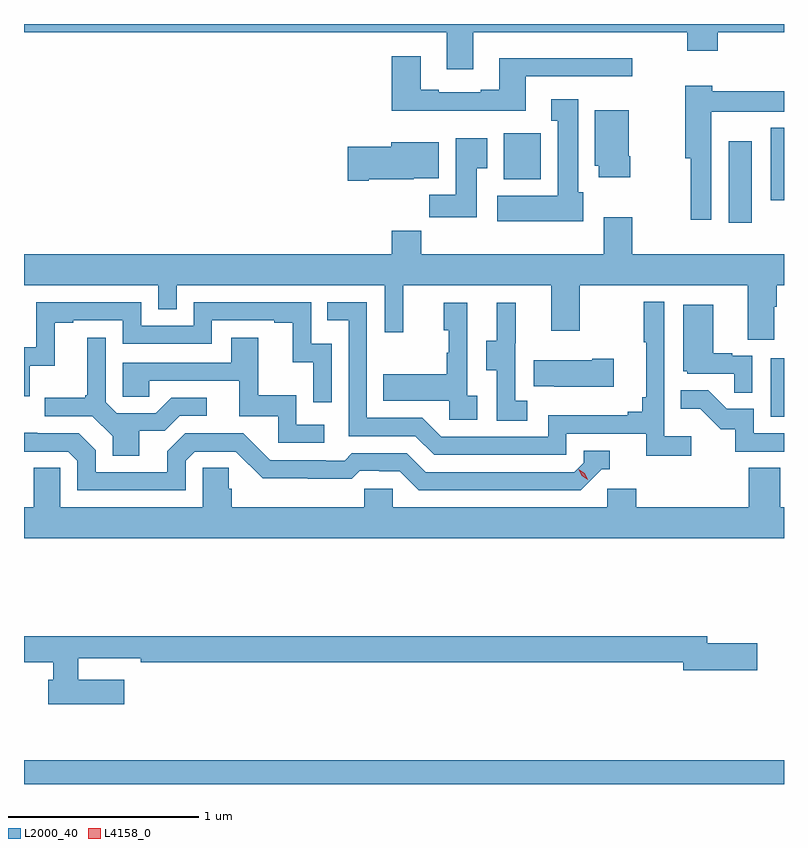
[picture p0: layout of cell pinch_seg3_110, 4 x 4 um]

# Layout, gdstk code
import gdstk
lib = gdstk.Library(unit=1e-6, precision=1e-09)
def R(c, l, rs):  # rectangles x0, y0, x1, y1
    for r in rs: c.add(gdstk.rectangle(r[:2], r[2:], *l))
def P(c, l, *ps):  # polygons
    for p in ps: c.add(gdstk.Polygon(p, *l))
L2000_40 = (2000, 40)
L4158_0 = (4158, 0)

pinch_seg3_110 = lib.new_cell('pinch_seg3_110')
R(pinch_seg3_110, L2000_40, [(1046.989,712.943,1050.989,713.068), (1050.92,714.876,1050.989,715.183), (1050.698,715.896,1050.82,716.326), (1050.92,716.016,1050.989,716.396), (1049.513,716.126,1049.71,716.368)])
P(pinch_seg3_110, L2000_40, [(1049.353,716.9),(1050.479,716.9),(1050.479,716.801),(1050.639,716.801),(1050.639,716.9),(1050.989,716.9),(1050.989,716.943),(1046.989,716.943),(1046.989,716.9),(1049.213,716.9),(1049.213,716.706),(1049.353,716.706)],
  [(1049.629,716.667),(1050.19,716.667),(1050.19,716.764),(1049.489,716.764),(1049.489,716.596),(1049.393,716.596),(1049.393,716.583),(1049.173,716.583),(1049.173,716.596),(1049.077,716.596),(1049.077,716.773),(1048.925,716.773),(1048.925,716.486),(1049.629,716.486)],
  [(1050.606,716.48),(1050.816,716.48),(1050.816,716.481),(1050.989,716.481),(1050.989,716.59),(1050.611,716.59),(1050.611,716.617),(1050.469,716.617),(1050.469,716.237),(1050.498,716.237),(1050.498,715.914),(1050.606,715.914)],
  [(1049.932,716.058),(1049.905,716.058),(1049.905,716.548),(1049.765,716.548),(1049.765,716.435),(1049.798,716.435),(1049.798,716.038),(1049.481,716.038),(1049.481,715.904),(1049.932,715.904)],
  [(1050.18,716.248),(1050.172,716.248),(1050.172,716.488),(1049.993,716.488),(1049.993,716.196),(1050.014,716.196),(1050.014,716.136),(1050.18,716.136)],
  [(1049.371,716.185),(1049.428,716.185),(1049.428,716.341),(1049.261,716.341),(1049.261,716.044),(1049.122,716.044),(1049.122,715.926),(1049.371,715.926)],
  [(1048.804,716.126),(1049.04,716.126),(1049.04,716.132),(1049.173,716.132),(1049.173,716.32),(1048.922,716.32),(1048.922,716.297),(1048.692,716.297),(1048.692,716.119),(1048.804,716.119)],
  [(1050.937,715.456),(1050.95,715.456),(1050.95,715.568),(1050.989,715.568),(1050.989,715.732),(1050.189,715.732),(1050.189,715.927),(1050.041,715.927),(1050.041,715.732),(1049.081,715.732),(1049.081,715.856),(1048.925,715.856),(1048.925,715.732),(1046.989,715.732),(1046.989,715.568),(1047.696,715.568),(1047.696,715.441),(1047.792,715.441),(1047.792,715.568),(1048.887,715.568),(1048.887,715.32),(1048.985,715.32),(1048.985,715.568),(1049.765,715.568),(1049.765,715.329),(1049.913,715.329),(1049.913,715.568),(1050.797,715.568),(1050.797,715.282),(1050.937,715.282)],
  [(1050.502,714.772),(1050.36,714.772),(1050.36,715.48),(1050.252,715.48),(1050.252,715.267),(1050.263,715.267),(1050.263,714.979),(1050.244,714.979),(1050.244,714.902),(1050.167,714.902),(1050.167,714.883),(1049.748,714.883),(1049.748,714.771),(1049.184,714.771),(1049.085,714.87),(1048.794,714.87),(1048.794,715.479),(1048.585,715.479),(1048.585,715.383),(1048.698,715.383),(1048.698,714.774),(1049.048,714.774),(1049.147,714.675),(1049.844,714.675),(1049.844,714.786),(1050.263,714.786),(1050.263,714.67),(1050.502,714.67)],
  [(1048.608,715.26),(1048.5,715.26),(1048.5,715.479),(1047.882,715.479),(1047.882,715.356),(1047.606,715.356),(1047.606,715.479),(1047.054,715.479),(1047.054,715.243),(1046.989,715.243),(1046.989,714.984),(1047.018,714.984),(1047.018,715.145),(1047.151,715.145),(1047.151,715.371),(1047.247,715.371),(1047.247,715.383),(1047.51,715.383),(1047.51,715.26),(1047.978,715.26),(1047.978,715.383),(1048.307,715.383),(1048.307,715.371),(1048.403,715.371),(1048.403,715.163),(1048.512,715.163),(1048.512,714.951),(1048.608,714.951)],
  [(1049.374,714.986),(1049.322,714.986),(1049.322,715.477),(1049.198,715.477),(1049.198,715.332),(1049.224,715.332),(1049.224,715.214),(1049.214,715.214),(1049.214,715.099),(1048.879,715.099),(1048.879,714.959),(1049.226,714.959),(1049.226,714.861),(1049.374,714.861)],
  [(1049.638,714.959),(1049.574,714.959),(1049.574,715.263),(1049.576,715.263),(1049.576,715.477),(1049.477,715.477),(1049.477,715.275),(1049.423,715.275),(1049.423,715.12),(1049.478,715.12),(1049.478,714.856),(1049.638,714.856)],
  [(1050.822,715.197),(1050.716,715.197),(1050.716,715.21),(1050.616,715.21),(1050.616,715.465),(1050.458,715.465),(1050.458,715.116),(1050.48,715.116),(1050.48,715.101),(1050.727,715.101),(1050.727,715.003),(1050.822,715.003)],
  [(1047.595,714.802),(1047.73,714.802),(1047.81,714.882),(1047.952,714.882),(1047.952,714.975),(1047.764,714.975),(1047.683,714.894),(1047.477,714.894),(1047.42,714.951),(1047.42,715.291),(1047.323,715.291),(1047.323,714.988),(1047.312,714.988),(1047.312,714.976),(1047.099,714.976),(1047.099,714.879),(1047.348,714.879),(1047.455,714.772),(1047.455,714.67),(1047.595,714.67)],
  [(1048.57,714.834),(1048.422,714.834),(1048.422,714.988),(1048.223,714.988),(1048.223,715.291),(1048.079,715.291),(1048.079,715.161),(1047.51,715.161),(1047.51,714.981),(1047.647,714.981),(1047.647,715.065),(1048.121,715.065),(1048.121,714.879),(1048.326,714.879),(1048.326,714.738),(1048.57,714.738)],
  [(1050.094,715.182),(1049.981,715.182),(1049.981,715.174),(1049.671,715.174),(1049.671,715.037),(1049.779,715.037),(1049.779,715.034),(1050.094,715.034)],
  [(1050.989,714.789),(1050.831,714.789),(1050.831,714.918),(1050.687,714.918),(1050.589,715.016),(1050.445,715.016),(1050.445,714.917),(1050.549,714.917),(1050.656,714.81),(1050.733,714.81),(1050.733,714.693),(1050.989,714.693)],
  [(1047.84,714.645),(1047.888,714.693),(1048.104,714.693),(1048.246,714.551),(1048.482,714.551),(1048.482,714.549),(1048.715,714.549),(1048.757,714.591),(1048.86,714.591),(1048.86,714.588),(1048.967,714.588),(1049.066,714.489),(1049.919,714.489),(1050.03,714.6),(1050.073,714.6),(1050.073,714.696),(1049.934,714.696),(1049.934,714.633),(1049.886,714.585),(1049.103,714.585),(1049.004,714.684),(1048.715,714.684),(1048.676,714.645),(1048.577,714.645),(1048.577,714.648),(1048.284,714.648),(1048.143,714.789),(1047.837,714.789),(1047.743,714.695),(1047.743,714.585),(1047.366,714.585),(1047.366,714.699),(1047.276,714.789),(1047.06,714.789),(1047.06,714.791),(1046.989,714.791),(1046.989,714.693),(1047.222,714.693),(1047.27,714.645),(1047.27,714.489),(1047.84,714.489)],
  [(1050.989,714.4),(1050.968,714.4),(1050.968,714.608),(1050.803,714.608),(1050.803,714.4),(1050.212,714.4),(1050.212,714.498),(1050.06,714.498),(1050.06,714.4),(1048.929,714.4),(1048.929,714.498),(1048.779,714.498),(1048.779,714.4),(1048.082,714.4),(1048.082,714.498),(1048.067,714.498),(1048.067,714.608),(1047.93,714.608),(1047.93,714.4),(1047.18,714.4),(1047.18,714.608),(1047.041,714.608),(1047.041,714.4),(1046.989,714.4),(1046.989,714.236),(1050.989,714.236)],
  [(1047.517,713.491),(1047.275,713.491),(1047.275,713.604),(1047.604,713.604),(1047.604,713.584),(1050.458,713.584),(1050.458,713.542),(1050.847,713.542),(1050.847,713.684),(1050.586,713.684),(1050.586,713.72),(1046.989,713.72),(1046.989,713.584),(1047.143,713.584),(1047.143,713.491),(1047.116,713.491),(1047.116,713.362),(1047.517,713.362)])
P(pinch_seg3_110, L4158_0, [(1049.956,714.545),(1049.925,714.566),(1049.909,714.599),(1049.909,714.599),(1049.91,714.599),(1049.94,714.579),(1049.956,714.546),(1049.956,714.545)])

lib.write_gds('pinch_seg3_110.gds')
